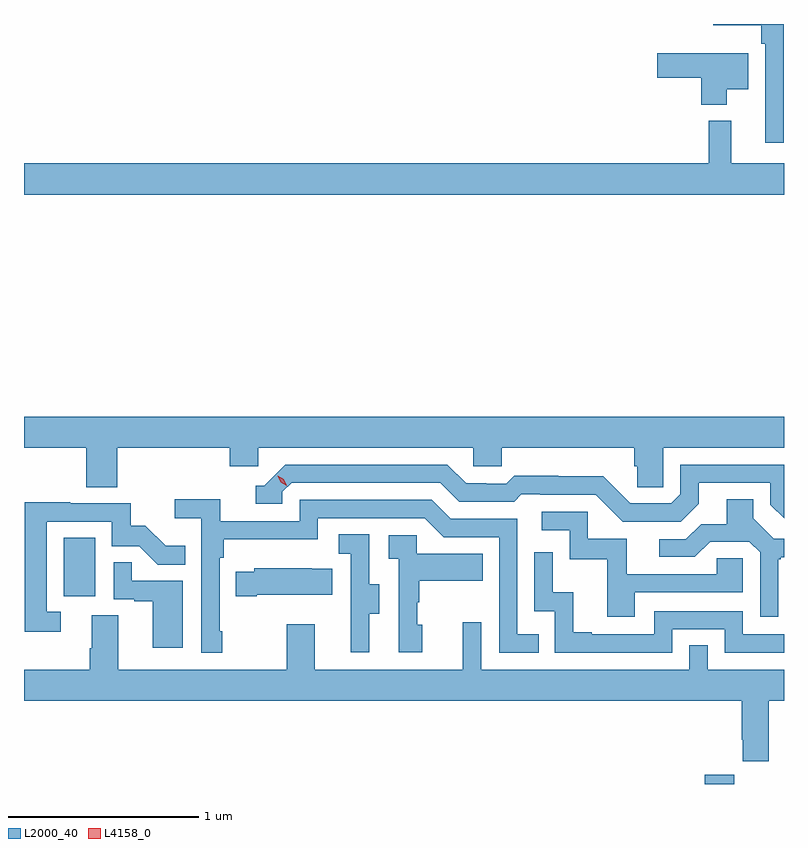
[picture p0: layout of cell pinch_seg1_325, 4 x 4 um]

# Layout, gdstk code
import gdstk
lib = gdstk.Library(unit=1e-6, precision=1e-09)
def R(c, l, rs):  # rectangles x0, y0, x1, y1
    for r in rs: c.add(gdstk.rectangle(r[:2], r[2:], *l))
def P(c, l, *ps):  # polygons
    for p in ps: c.add(gdstk.Polygon(p, *l))
L2000_40 = (2000, 40)
L4158_0 = (4158, 0)

pinch_seg1_325 = lib.new_cell('pinch_seg1_325')
R(pinch_seg1_325, L2000_40, [(1012.07,560.618,1012.225,560.668), (1008.698,561.606,1008.862,561.913)])
P(pinch_seg1_325, L2000_40, [(1012.486,564.618),(1012.115,564.618),(1012.115,564.611),(1012.369,564.611),(1012.369,564.515),(1012.389,564.515),(1012.389,563.994),(1012.486,563.994)],
  [(1012.186,564.275),(1012.3,564.275),(1012.3,564.463),(1011.822,564.463),(1011.822,564.334),(1012.052,564.334),(1012.052,564.194),(1012.186,564.194)],
  [(1012.488,563.884),(1012.211,563.884),(1012.211,564.109),(1012.093,564.109),(1012.093,563.884),(1008.488,563.884),(1008.488,563.72),(1012.488,563.72)],
  [(1008.98,562.388),(1009.571,562.388),(1009.571,562.29),(1009.722,562.29),(1009.722,562.388),(1010.853,562.388),(1010.853,562.29),(1011.003,562.29),(1011.003,562.388),(1011.701,562.388),(1011.701,562.29),(1011.715,562.29),(1011.715,562.18),(1011.852,562.18),(1011.852,562.388),(1012.488,562.388),(1012.488,562.552),(1008.488,562.552),(1008.488,562.388),(1008.815,562.388),(1008.815,562.18),(1008.98,562.18)],
  [(1012.039,562.093),(1012.039,562.203),(1012.416,562.203),(1012.416,562.089),(1012.488,562.017),(1012.488,562.299),(1011.942,562.299),(1011.942,562.143),(1011.894,562.095),(1011.678,562.095),(1011.536,562.237),(1011.3,562.237),(1011.3,562.24),(1011.067,562.24),(1011.025,562.197),(1010.922,562.197),(1010.922,562.2),(1010.815,562.2),(1010.716,562.299),(1009.863,562.299),(1009.752,562.188),(1009.709,562.188),(1009.709,562.092),(1009.848,562.092),(1009.848,562.155),(1009.896,562.203),(1010.679,562.203),(1010.778,562.104),(1011.067,562.104),(1011.106,562.143),(1011.205,562.143),(1011.205,562.14),(1011.498,562.14),(1011.639,561.999),(1011.945,561.999)],
  [(1009.531,561.421),(1009.518,561.421),(1009.518,561.809),(1009.538,561.809),(1009.538,561.905),(1010.034,561.905),(1010.034,562.017),(1010.598,562.017),(1010.697,561.918),(1010.988,561.918),(1010.988,561.309),(1011.197,561.309),(1011.197,561.405),(1011.084,561.405),(1011.084,562.014),(1010.734,562.014),(1010.635,562.113),(1009.938,562.113),(1009.938,562.002),(1009.52,562.002),(1009.52,562.118),(1009.281,562.118),(1009.281,562.016),(1009.422,562.016),(1009.422,561.309),(1009.531,561.309)],
  [(1012.459,561.801),(1012.471,561.801),(1012.471,561.812),(1012.488,561.812),(1012.488,561.909),(1012.434,561.909),(1012.327,562.016),(1012.327,562.118),(1012.187,562.118),(1012.187,561.986),(1012.052,561.986),(1011.972,561.906),(1011.831,561.906),(1011.831,561.813),(1012.018,561.813),(1012.099,561.894),(1012.305,561.894),(1012.362,561.837),(1012.362,561.498),(1012.459,561.498)],
  [(1008.682,561.525),(1008.609,561.525),(1008.609,561.999),(1008.951,561.999),(1008.951,561.87),(1009.095,561.87),(1009.193,561.772),(1009.337,561.772),(1009.337,561.871),(1009.233,561.871),(1009.126,561.978),(1009.05,561.978),(1009.05,562.095),(1008.731,562.095),(1008.731,562.1),(1008.493,562.1),(1008.493,561.42),(1008.682,561.42)],
  [(1011.703,561.627),(1012.272,561.627),(1012.272,561.807),(1012.135,561.807),(1012.135,561.723),(1011.661,561.723),(1011.661,561.909),(1011.456,561.909),(1011.456,562.05),(1011.213,562.05),(1011.213,561.954),(1011.36,561.954),(1011.36,561.801),(1011.559,561.801),(1011.559,561.498),(1011.703,561.498)],
  [(1010.305,561.514),(1010.359,561.514),(1010.359,561.669),(1010.304,561.669),(1010.304,561.932),(1010.145,561.932),(1010.145,561.829),(1010.208,561.829),(1010.208,561.525),(1010.207,561.525),(1010.207,561.312),(1010.305,561.312)],
  [(1010.584,561.456),(1010.559,561.456),(1010.559,561.575),(1010.569,561.575),(1010.569,561.689),(1010.903,561.689),(1010.903,561.829),(1010.556,561.829),(1010.556,561.927),(1010.409,561.927),(1010.409,561.803),(1010.46,561.803),(1010.46,561.312),(1010.584,561.312)],
  [(1011.9,561.432),(1012.176,561.432),(1012.176,561.309),(1012.488,561.309),(1012.488,561.405),(1012.272,561.405),(1012.272,561.528),(1011.804,561.528),(1011.804,561.405),(1011.475,561.405),(1011.475,561.418),(1011.38,561.418),(1011.38,561.626),(1011.27,561.626),(1011.27,561.838),(1011.174,561.838),(1011.174,561.528),(1011.282,561.528),(1011.282,561.309),(1011.9,561.309)],
  [(1009.324,561.687),(1009.055,561.687),(1009.055,561.785),(1008.96,561.785),(1008.96,561.591),(1009.067,561.591),(1009.067,561.579),(1009.166,561.579),(1009.166,561.336),(1009.324,561.336)],
  [(1009.714,561.614),(1010.111,561.614),(1010.111,561.751),(1010.003,561.751),(1010.003,561.754),(1009.701,561.754),(1009.701,561.736),(1009.603,561.736),(1009.603,561.607),(1009.714,561.607)],
  [(1012.408,561.056),(1012.488,561.056),(1012.488,561.22),(1012.086,561.22),(1012.086,561.347),(1011.99,561.347),(1011.99,561.22),(1010.895,561.22),(1010.895,561.469),(1010.798,561.469),(1010.798,561.22),(1010.017,561.22),(1010.017,561.46),(1009.87,561.46),(1009.87,561.22),(1008.985,561.22),(1008.985,561.506),(1008.845,561.506),(1008.845,561.332),(1008.833,561.332),(1008.833,561.22),(1008.488,561.22),(1008.488,561.056),(1012.265,561.056),(1012.265,560.851),(1012.271,560.851),(1012.271,560.739),(1012.408,560.739)])
P(pinch_seg1_325, L4158_0, [(1009.871,562.188),(1009.84,562.207),(1009.823,562.24),(1009.823,562.24),(1009.824,562.24),(1009.854,562.221),(1009.871,562.188),(1009.871,562.188)])

lib.write_gds('pinch_seg1_325.gds')
